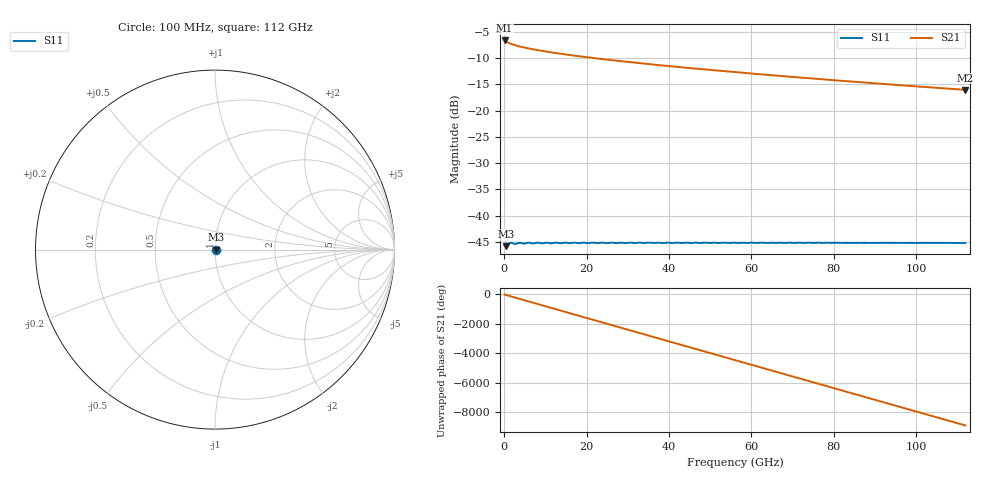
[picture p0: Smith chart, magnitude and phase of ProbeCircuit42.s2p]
! File created by SignalIntegrity v1.3.3: Signal and Power Integrity Tools
! https://github.com/TeledyneLeCroy/SignalIntegrity
# MHz S MA R 50.0
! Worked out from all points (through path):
!   1120 points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, 100 MHz to 112 GHz, reference 50 ohm
!   highest |S21| = -6.63 dB at 100 MHz (marker M1); lowest = -16.0 dB at 112 GHz (marker M2)
!   group delay of S21, straight-line fit = 220 ps
!   lowest |S11| = -45.8 dB at 400 MHz (marker M3), VSWR 1.01, Z = 50.5 + j0.00844 ohm
!   |S11| at or under -10 dB: start of sweep to end of sweep
!   S12 and S22 are empty: the file has one direction only
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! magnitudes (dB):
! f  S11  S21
! 100 MHz  -45.7  -6.6
! 400 MHz  -45.8  -6.8
! 1.6 GHz  -45.2  -7.3
! 2.6 GHz  -45.4  -7.5
! 3.7 GHz  -45.2  -7.8
! 4.8 GHz  -45.3  -8.0
! 6.2 GHz  -45.2  -8.2
! 7 GHz  -45.3  -8.3
! 8 GHz  -45.2  -8.5
! 9.2 GHz  -45.3  -8.6
! 10.2 GHz  -45.2  -8.7
! 11.4 GHz  -45.3  -8.9
! 12.2 GHz  -45.2  -9.0
! 13.6 GHz  -45.3  -9.2
! 14.7 GHz  -45.1  -9.3
! 15.9 GHz  -45.3  -9.4
! 18.8 GHz  -45.2  -9.7
! 37.4 GHz  -45.1  -11.3
! 56.1 GHz  -45.2  -12.7
! 74.7 GHz  -45.2  -13.9
! 93.4 GHz  -45.2  -15.0
! 112 GHz  -45.2  -16.0
